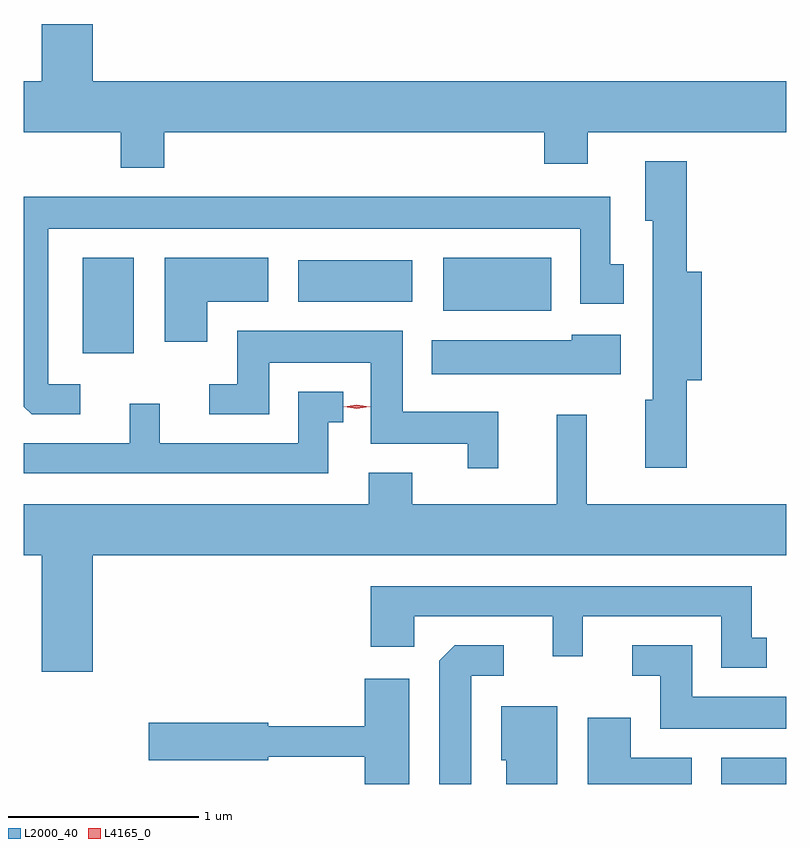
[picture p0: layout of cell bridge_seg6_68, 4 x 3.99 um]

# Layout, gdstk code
import gdstk
lib = gdstk.Library(unit=1e-6, precision=1e-09)
def R(c, l, rs):  # rectangles x0, y0, x1, y1
    for r in rs: c.add(gdstk.rectangle(r[:2], r[2:], *l))
def P(c, l, *ps):  # polygons
    for p in ps: c.add(gdstk.Polygon(p, *l))
L2000_40 = (2000, 40)
L4165_0 = (4165, 0)

bridge_seg6_68 = lib.new_cell('bridge_seg6_68')
R(bridge_seg6_68, L2000_40, [(1257.601,1637.637,1257.941,1637.774), (1254.251,1639.896,1254.519,1640.399), (1256.141,1640.121,1256.709,1640.399), (1255.381,1640.166,1255.979,1640.384)])
P(bridge_seg6_68, L2000_40, [(1254.679,1641.056),(1256.671,1641.056),(1256.671,1640.891),(1256.899,1640.891),(1256.899,1641.056),(1257.941,1641.056),(1257.941,1641.324),(1254.304,1641.324),(1254.304,1641.624),(1254.036,1641.624),(1254.036,1641.324),(1253.941,1641.324),(1253.941,1641.056),(1254.451,1641.056),(1254.451,1640.871),(1254.679,1640.871)],
  [(1257.419,1639.756),(1257.499,1639.756),(1257.499,1640.324),(1257.419,1640.324),(1257.419,1640.904),(1257.201,1640.904),(1257.201,1640.591),(1257.241,1640.591),(1257.241,1639.654),(1257.201,1639.654),(1257.201,1639.296),(1257.419,1639.296)],
  [(1254.238,1639.734),(1254.069,1639.734),(1254.069,1640.551),(1256.861,1640.551),(1256.861,1640.156),(1257.089,1640.156),(1257.089,1640.364),(1257.019,1640.364),(1257.019,1640.719),(1253.941,1640.719),(1253.941,1639.617),(1253.982,1639.576),(1254.238,1639.576)],
  [(1254.904,1640.166),(1255.224,1640.166),(1255.224,1640.399),(1254.681,1640.399),(1254.681,1639.956),(1254.904,1639.956)],
  [(1256.429,1639.589),(1255.929,1639.589),(1255.929,1640.014),(1255.061,1640.014),(1255.061,1639.734),(1254.913,1639.734),(1254.913,1639.576),(1255.229,1639.576),(1255.229,1639.846),(1255.761,1639.846),(1255.761,1639.421),(1256.271,1639.421),(1256.271,1639.293),(1256.429,1639.293)],
  [(1257.074,1639.994),(1256.816,1639.994),(1256.816,1639.964),(1256.081,1639.964),(1256.081,1639.786),(1257.074,1639.786)],
  [(1255.539,1639.536),(1255.618,1639.536),(1255.618,1639.694),(1255.381,1639.694),(1255.381,1639.424),(1254.654,1639.424),(1254.654,1639.633),(1254.496,1639.633),(1254.496,1639.424),(1253.941,1639.424),(1253.941,1639.266),(1255.539,1639.266)],
  [(1254.304,1638.836),(1257.941,1638.836),(1257.941,1639.104),(1256.894,1639.104),(1256.894,1639.573),(1256.736,1639.573),(1256.736,1639.104),(1255.979,1639.104),(1255.979,1639.269),(1255.751,1639.269),(1255.751,1639.104),(1253.941,1639.104),(1253.941,1638.836),(1254.036,1638.836),(1254.036,1638.226),(1254.304,1638.226)],
  [(1257.838,1638.404),(1257.759,1638.404),(1257.759,1638.674),(1255.761,1638.674),(1255.761,1638.356),(1255.989,1638.356),(1255.989,1638.516),(1256.716,1638.516),(1256.716,1638.308),(1256.874,1638.308),(1256.874,1638.516),(1257.601,1638.516),(1257.601,1638.246),(1257.838,1638.246)],
  [(1256.289,1638.206),(1256.458,1638.206),(1256.458,1638.364),(1256.202,1638.364),(1256.121,1638.284),(1256.121,1637.637),(1256.289,1637.637)],
  [(1257.941,1638.094),(1257.449,1638.094),(1257.449,1638.364),(1257.133,1638.364),(1257.133,1638.206),(1257.281,1638.206),(1257.281,1637.926),(1257.941,1637.926)],
  [(1255.964,1638.189),(1255.731,1638.189),(1255.731,1637.939),(1255.224,1637.939),(1255.224,1637.959),(1254.596,1637.959),(1254.596,1637.761),(1255.224,1637.761),(1255.224,1637.781),(1255.731,1637.781),(1255.731,1637.637),(1255.964,1637.637)],
  [(1256.739,1638.044),(1256.446,1638.044),(1256.446,1637.761),(1256.471,1637.761),(1256.471,1637.637),(1256.739,1637.637)],
  [(1257.444,1637.774),(1257.124,1637.774),(1257.124,1637.984),(1256.901,1637.984),(1256.901,1637.637),(1257.444,1637.637)])
P(bridge_seg6_68, L4165_0, [(1255.688,1639.606),(1255.619,1639.615),(1255.619,1639.616),(1255.619,1639.616),(1255.688,1639.626),(1255.757,1639.616),(1255.758,1639.616),(1255.757,1639.616)])

lib.write_gds('bridge_seg6_68.gds')
